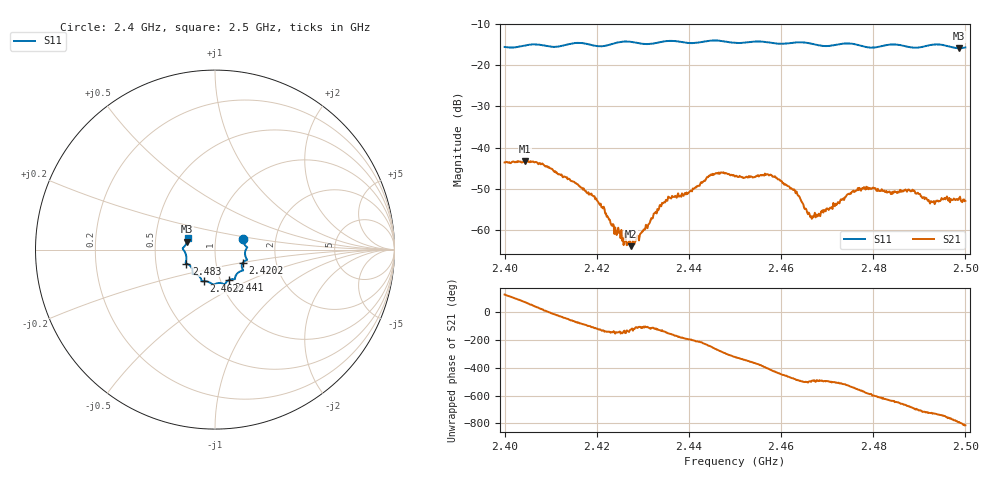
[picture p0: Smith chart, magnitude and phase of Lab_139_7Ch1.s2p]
# Hz S RI R 50
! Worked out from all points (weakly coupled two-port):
!   601 points, 2.4 GHz to 2.5 GHz, reference 50 ohm
!   highest |S21| = -43.24 dB at 2.4043 GHz (marker M1); lowest = -64.0 dB at 2.4275 GHz (marker M2)
!   lowest |S11| = -15.8 dB at 2.4987 GHz (marker M3), VSWR 1.39, Z = 36.4 + j3.32 ohm
!   |S11| at or under -10 dB: start of sweep to end of sweep
!   S12 and S22 are empty: the file has one direction only
!   S11 on the Smith chart (normalised r, x): 2.4 GHz: 1.36, +0.17; 2.4202 GHz: 1.35, -0.20; 2.441 GHz: 1.09, -0.39; 2.4622 GHz: 0.83, -0.30; 2.483 GHz: 0.72, -0.12; 2.5 GHz: 0.73, +0.09
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2.4e9  0.1564 0.0602  -0.00356 0.00553  0 0  0 0
2.404333e9  0.1737 0.0176  0.00247 0.00643  0 0  0 0
2.408e9  0.1766 0.00789  0.00591 0.00217  0 0  0 0
2.416667e9  0.1779 -0.0582  0.000212 -0.00325  0 0  0 0
2.420167e9  0.1557 -0.0722  -0.00124 -0.00186  0 0  0 0
2.423833e9  0.1523 -0.1064  -0.000734 -0.000499  0 0  0 0
2.4275e9  0.1538 -0.1171  -0.000367 -0.000513  0 0  0 0
2.433333e9  0.1129 -0.1526  -0.00109 -0.00133  0 0  0 0
2.436e9  0.1108 -0.1651  -0.00225 -0.000879  0 0  0 0
2.441e9  0.0766 -0.1705  -0.00283 0.00136  0 0  0 0
2.445333e9  0.0535 -0.1937  -0.000868 0.00456  0 0  0 0
2.45e9  0.0261 -0.1861  0.00356 0.00264  0 0  0 0
2.4575e9  -0.0212 -0.1885  0.0028 -0.00365  0 0  0 0
2.462167e9  -0.0636 -0.1763  -0.00129 -0.00295  0 0  0 0
2.466667e9  -0.0762 -0.1668  -0.000948 -0.000973  0 0  0 0
2.476667e9  -0.1249 -0.1257  -0.00307 0.000945  0 0  0 0
2.483e9  -0.1591 -0.078  -8.31e-05 0.00282  0 0  0 0
2.483333e9  -0.1607 -0.0774  5.61e-05 0.00287  0 0  0 0
2.488333e9  -0.1594 -0.0437  0.00241 0.00171  0 0  0 0
2.492833e9  -0.1785 0.00274  0.00214 -0.000347  0 0  0 0
2.498667e9  -0.1554 0.0444  0.000861 -0.00226  0 0  0 0
2.5e9  -0.1528 0.0632  -0.000118 -0.00224  0 0  0 0
